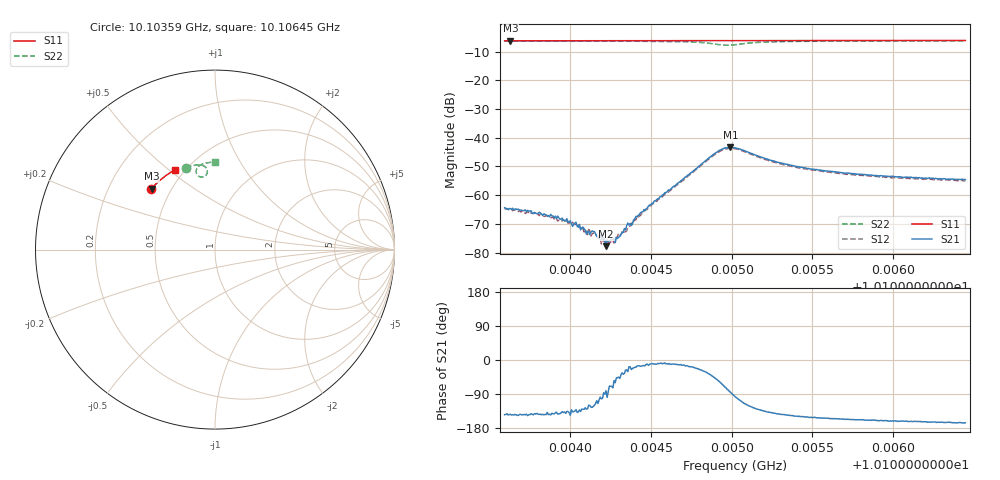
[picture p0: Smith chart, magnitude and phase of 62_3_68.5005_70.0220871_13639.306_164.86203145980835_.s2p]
#  HZ  S  RI  R  50.00
! Rohde & Schwarz Vector Network Analyzer
! Rohde-Schwarz,ZNB20-2Port,1311601062101988,3.16
! Created: UTC 3/20/2024, 4:51:17 PM
! freq[Hz]  re:S11  im:S11  re:S21  im:S21  re:S12  im:S12  re:S22  im:S22
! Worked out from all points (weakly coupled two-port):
!   401 points, 10.10359 GHz to 10.10645 GHz, reference 50 ohm
!   highest |S21| = -43.33 dB at 10.10499 GHz (marker M1); lowest = -77.8 dB at 10.10422 GHz (marker M2)
!   lowest |S11| = -6.2 dB at 10.10363 GHz (marker M3), VSWR 2.92, Z = 19.5 + j17.4 ohm
!   |S11| at or under -10 dB: nowhere
!   |S22| runs from -7.7 to -6.2 dB; largest |S21 - S12| = 0.00067
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1.0103594e10  -0.3551 0.3379  -0.000489 -0.000351  -0.000422 -0.000373  -0.1616 0.4546
1.010363e10  -0.3536 0.3394  -0.000468 -0.000348  -0.000415 -0.000344  -0.1592 0.4556
1.0103894e10  -0.3428 0.3514  -0.00034 -0.000267  -0.000318 -0.000266  -0.1416 0.4618
1.0104022e10  -0.3374 0.3571  -0.000225 -0.000215  -0.000217 -0.000225  -0.1326 0.4646
1.0104072e10  -0.3353 0.3593  -0.000172 -0.000206  -0.000165 -0.00023  -0.129 0.4658
1.0104108e10  -0.3337 0.3608  -0.000145 -0.000183  -0.000106 -0.000175  -0.1264 0.4665
1.0104143e10  -0.3323 0.3624  -0.000124 -0.000196  -8.13e-05 -0.000204  -0.1238 0.4673
1.0104208e10  -0.3296 0.365  1.16e-05 -0.00018  -9.51e-07 -0.000158  -0.1187 0.4685
1.0104222e10  -0.3288 0.3658  1.96e-05 -0.000128  -1.37e-05 -0.000149  -0.1177 0.4686
1.0104258e10  -0.3273 0.3673  5.93e-05 -0.000159  4.2e-05 -0.000156  -0.1149 0.4692
1.0104293e10  -0.3257 0.3688  0.000121 -0.000128  0.000157 -0.000112  -0.1119 0.4699
1.0104343e10  -0.3235 0.3709  0.000221 -0.00011  0.000203 -0.000112  -0.1079 0.4706
1.0104422e10  -0.3202 0.3742  0.000429 -0.000116  0.000406 -8.18e-05  -0.1008 0.4717
1.010455e10  -0.3143 0.3794  0.000866 -0.000148  0.000854 -6.26e-05  -0.0878 0.4724
1.0104892e10  -0.2983 0.3927  0.00363 -0.00378  0.00382 -0.0033  -0.043 0.4304
1.0104942e10  -0.296 0.3945  0.00275 -0.00574  0.00311 -0.00527  -0.0541 0.4109
1.0104992e10  -0.2938 0.3963  0.000588 -0.00679  0.00112 -0.00645  -0.0781 0.4041
1.0105021e10  -0.2925 0.3974  -0.000777 -0.00663  -0.000138 -0.00644  -0.0907 0.4088
1.0105292e10  -0.2798 0.4078  -0.00294 -0.00226  -0.00262 -0.00242  -0.0891 0.4659
1.0105498e10  -0.2697 0.4153  -0.00252 -0.00135  -0.00227 -0.00152  -0.0693 0.4769
1.0105976e10  -0.2456 0.4314  -0.00201 -0.000685  -0.00189 -0.000852  -0.0317 0.4857
1.0106447e10  -0.2209 0.4456  -0.00181 -0.000458  -0.00166 -0.000599  0.00103 0.4887
